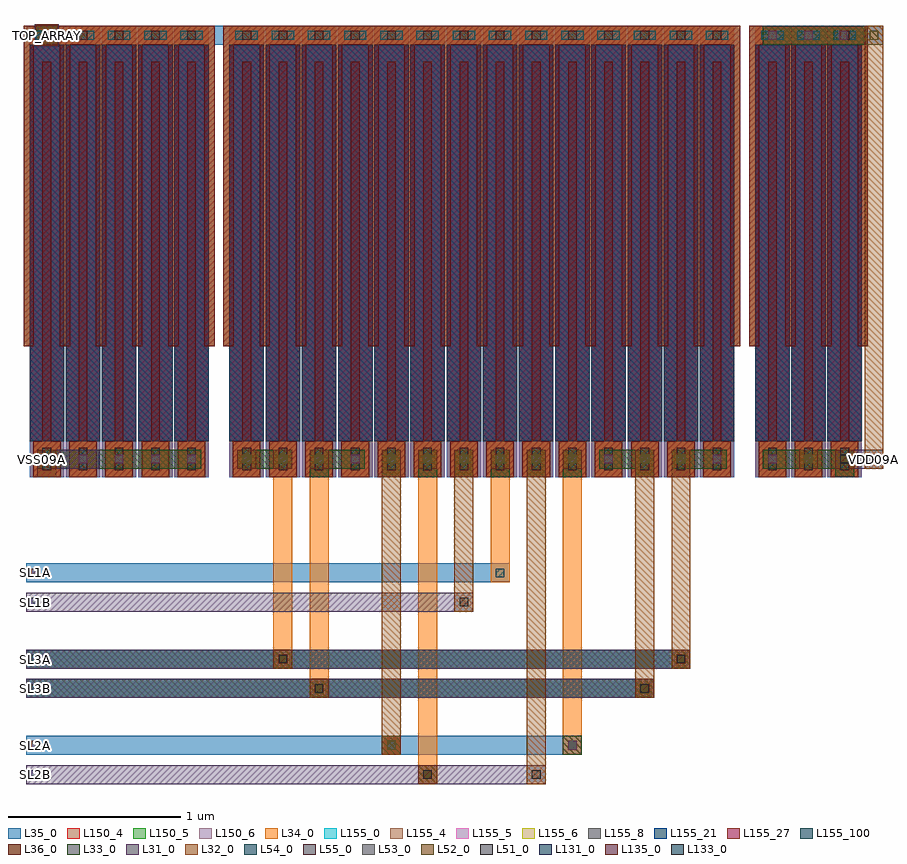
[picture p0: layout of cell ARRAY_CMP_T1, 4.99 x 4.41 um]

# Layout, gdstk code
from math import pi, radians
import gdstk
lib = gdstk.Library(unit=1e-6, precision=1e-09)
def R(c, l, rs):  # rectangles x0, y0, x1, y1
    for r in rs: c.add(gdstk.rectangle(r[:2], r[2:], *l))
def A(c, l, x, y, w, h, nx, ny, dx, dy):  # array of equal rectangles
    R(c, l, [(x+i*dx, y+j*dy, x+i*dx+w, y+j*dy+h) for i in range(nx) for j in range(ny)])
L31_0 = (31, 0)
L32_0 = (32, 0)
L33_0 = (33, 0)
L34_0 = (34, 0)
L35_0 = (35, 0)
L36_0 = (36, 0)
L51_0 = (51, 0)
L52_0 = (52, 0)
L53_0 = (53, 0)
L54_0 = (54, 0)
L55_0 = (55, 0)
L131_0 = (131, 0)
L133_0 = (133, 0)
L135_0 = (135, 0)
L150_4 = (150, 4)
L150_5 = (150, 5)
L150_6 = (150, 6)
L155_0 = (155, 0)
L155_4 = (155, 4)
L155_5 = (155, 5)
L155_6 = (155, 6)
L155_8 = (155, 8)
L155_21 = (155, 21)
L155_27 = (155, 27)
L155_100 = (155, 100)

m5_m4_cdns_620205407967 = lib.new_cell('M5_M4_CDNS_620205407967')
R(m5_m4_cdns_620205407967, L34_0, [(-0.07,-0.105,0.07,0.105)])
R(m5_m4_cdns_620205407967, L35_0, [(-0.07,-0.105,0.07,0.105)])
R(m5_m4_cdns_620205407967, L54_0, [(-0.025,-0.065,0.025,0.065)])

m6_m5_cdns_620205407968 = lib.new_cell('M6_M5_CDNS_620205407968')
R(m6_m5_cdns_620205407968, L35_0, [(-0.07,-0.105,0.07,0.105)])
R(m6_m5_cdns_620205407968, L36_0, [(-0.055,-0.105,0.055,0.105)])
R(m6_m5_cdns_620205407968, L55_0, [(-0.025,-0.065,0.025,0.065)])

m5_m4_cdns_620205407969 = lib.new_cell('M5_M4_CDNS_620205407969')
R(m5_m4_cdns_620205407969, L34_0, [(-0.095,-0.055,0.095,0.055)])
R(m5_m4_cdns_620205407969, L35_0, [(-0.12,-0.055,0.12,0.055)])
R(m5_m4_cdns_620205407969, L54_0, [(-0.065,-0.025,0.065,0.025)])

m6_m5_cdns_6202054079610 = lib.new_cell('M6_M5_CDNS_6202054079610')
R(m6_m5_cdns_6202054079610, L35_0, [(-0.055,-0.055,0.055,0.055)])
R(m6_m5_cdns_6202054079610, L36_0, [(-0.055,-0.055,0.055,0.055)])
R(m6_m5_cdns_6202054079610, L55_0, [(-0.025,-0.025,0.025,0.025)])

cu1f = lib.new_cell('CU1F')
R(cu1f, L34_0, [(0.02,0,0.18,0.21), (-0.035,2.51,0.235,2.62)])
R(cu1f, L35_0, [(0.02,0,0.18,0.21), (-0.035,2.51,0.235,2.62)])
R(cu1f, L36_0, [(0.02,0,0.18,0.21), (-0.035,2.51,0.235,2.62)])
R(cu1f, L150_4, [(0,0,0.2,2.62)])
R(cu1f, L150_5, [(0,0,0.2,2.62)])
R(cu1f, L150_6, [(0,0,0.2,2.62)])
R(cu1f, L155_0, [(0,0.21,0.2,2.51)])
R(cu1f, L155_4, [(0,0.21,0.2,2.51)])
R(cu1f, L155_5, [(0,0.21,0.2,2.51)])
R(cu1f, L155_6, [(0,0.21,0.2,2.51)])
R(cu1f, L155_8, [(0,0.21,0.2,2.51)])
R(cu1f, L155_21, [(0,0.21,0.2,2.51)])
R(cu1f, L155_27, [(0,0.21,0.2,2.51)])
R(cu1f, L155_100, [(0,0.21,0.2,2.51)])
cu1f.add(gdstk.FlexPath([(0.205,2.59),(0.205,0.76)], 0.06, ends=(0.03, 0), simple_path=True, layer=34, datatype=0))  # L34_0
cu1f.add(gdstk.FlexPath([(0.1,2.41),(0.1,0)], 0.05, ends="flush", simple_path=True, layer=34, datatype=0))  # L34_0
cu1f.add(gdstk.FlexPath([(-0.005,2.59),(-0.005,0.76)], 0.06, ends=(0.03, 0), simple_path=True, layer=34, datatype=0))  # L34_0
cu1f.add(gdstk.FlexPath([(0.205,0.76),(0.205,2.59)], 0.06, ends=(0, 0.03), simple_path=True, layer=35, datatype=0))  # L35_0
cu1f.add(gdstk.FlexPath([(0.1,2.41),(0.1,0)], 0.05, ends="flush", simple_path=True, layer=35, datatype=0))  # L35_0
cu1f.add(gdstk.FlexPath([(-0.005,0.76),(-0.005,2.59)], 0.06, ends=(0, 0.03), simple_path=True, layer=35, datatype=0))  # L35_0
cu1f.add(gdstk.FlexPath([(0.205,0.76),(0.205,2.59)], 0.06, ends=(0, 0.03), simple_path=True, layer=36, datatype=0))  # L36_0
cu1f.add(gdstk.FlexPath([(0.1,2.41),(0.1,0)], 0.05, ends="flush", simple_path=True, layer=36, datatype=0))  # L36_0
cu1f.add(gdstk.FlexPath([(-0.005,0.76),(-0.005,2.59)], 0.06, ends=(0, 0.03), simple_path=True, layer=36, datatype=0))  # L36_0
cu1f.add(gdstk.Reference(m5_m4_cdns_620205407967, (0.1,0.105), rotation=pi, x_reflection=True))
cu1f.add(gdstk.Reference(m6_m5_cdns_620205407968, (0.1,0.105), rotation=pi, x_reflection=True))
cu1f.add(gdstk.Reference(m5_m4_cdns_620205407969, (0.1,2.565)))
cu1f.add(gdstk.Reference(m6_m5_cdns_6202054079610, (0.1,2.565)))

m2_m1_cdns_620205407960 = lib.new_cell('M2_M1_CDNS_620205407960')
R(m2_m1_cdns_620205407960, L31_0, [(-0.055,-0.055,0.055,0.055)])
R(m2_m1_cdns_620205407960, L32_0, [(-0.055,-0.055,0.055,0.055)])
R(m2_m1_cdns_620205407960, L51_0, [(-0.025,-0.025,0.025,0.025)])

m3_m2_cdns_620205407961 = lib.new_cell('M3_M2_CDNS_620205407961')
R(m3_m2_cdns_620205407961, L32_0, [(-0.055,-0.055,0.055,0.055)])
R(m3_m2_cdns_620205407961, L33_0, [(-0.055,-0.055,0.055,0.055)])
R(m3_m2_cdns_620205407961, L52_0, [(-0.025,-0.025,0.025,0.025)])

m4_m3_cdns_620205407962 = lib.new_cell('M4_M3_CDNS_620205407962')
R(m4_m3_cdns_620205407962, L33_0, [(-0.055,-0.055,0.055,0.055)])
R(m4_m3_cdns_620205407962, L34_0, [(-0.055,-0.055,0.055,0.055)])
R(m4_m3_cdns_620205407962, L53_0, [(-0.025,-0.025,0.025,0.025)])

m4_m3_cdns_620205407963 = lib.new_cell('M4_M3_CDNS_620205407963')
R(m4_m3_cdns_620205407963, L33_0, [(-0.07,-0.065,0.07,0.065)])
R(m4_m3_cdns_620205407963, L34_0, [(-0.055,-0.055,0.055,0.055)])
R(m4_m3_cdns_620205407963, L53_0, [(-0.025,-0.025,0.025,0.025)])

m3_m2_cdns_620205407964 = lib.new_cell('M3_M2_CDNS_620205407964')
R(m3_m2_cdns_620205407964, L32_0, [(-0.065,-0.06,0.065,0.06)])
R(m3_m2_cdns_620205407964, L33_0, [(-0.07,-0.065,0.07,0.065)])
R(m3_m2_cdns_620205407964, L52_0, [(-0.025,-0.025,0.025,0.025)])

m2_m1_cdns_620205407965 = lib.new_cell('M2_M1_CDNS_620205407965')
R(m2_m1_cdns_620205407965, L31_0, [(-0.055,-0.055,0.055,0.055)])
R(m2_m1_cdns_620205407965, L32_0, [(-0.065,-0.06,0.065,0.06)])
R(m2_m1_cdns_620205407965, L51_0, [(-0.025,-0.025,0.025,0.025)])

m5_m4_cdns_620205407966 = lib.new_cell('M5_M4_CDNS_620205407966')
R(m5_m4_cdns_620205407966, L34_0, [(-0.055,-0.055,0.055,0.055)])
R(m5_m4_cdns_620205407966, L35_0, [(-0.055,-0.055,0.055,0.055)])
R(m5_m4_cdns_620205407966, L54_0, [(-0.025,-0.025,0.025,0.025)])

array_cmp_t1 = lib.new_cell('ARRAY_CMP_T1')
R(array_cmp_t1, L31_0, [(-0.23,-1.78,2.785,-1.67), (-0.23,-1.28,3.415,-1.17), (-0.23,-1.11,3.625,-1), (-0.23,-0.78,2.365,-0.67), (-0.165,0.05,0.195,0.16), (4.465,0.05,4.745,0.16), (-0.18,2.5,-0.04,2.63)])
R(array_cmp_t1, L32_0, [(2.675,-1.78,2.785,0.16), (1.835,-1.61,1.945,0.16), (3.305,-1.28,3.415,0.16), (3.515,-1.11,3.625,0.16), (2.255,-0.78,2.365,0.16), (-0.165,0,-0.055,0.16), (4.465,0.05,4.575,0.16), (4.635,0.05,4.745,2.62)])
A(array_cmp_t1, L33_0, 1.835, 0, 0.11, 0.16, 6, 1, 0.21, 0)
R(array_cmp_t1, L33_0, [(-0.23,-1.28,3.415,-1.17), (-0.23,-1.11,3.625,-1), (1.415,0,1.525,0.16), (3.305,0,3.415,0.16), (4.465,0,4.575,0.16), (-0.165,0.05,0.785,0.16), (0.995,0.05,1.315,0.16), (1.415,0.05,1.735,0.16), (3.095,0.05,3.415,0.16), (3.515,0.05,3.835,0.16), (4.045,0.05,4.575,0.16), (4.045,2.51,4.745,2.62)])
R(array_cmp_t1, L34_0, [(2.045,-1.78,2.155,0.16), (2.885,-1.61,2.995,0.16), (1.415,-1.28,1.525,0.16), (1.205,-1.11,1.315,0.16), (2.465,-0.61,2.575,0.16)])
R(array_cmp_t1, L35_0, [(-0.23,-1.61,2.995,-1.5), (-0.23,-1.28,3.415,-1.17), (-0.23,-1.11,3.625,-1), (-0.23,-0.61,2.575,-0.5), (-0.18,2.51,1.125,2.62)])
R(array_cmp_t1, L131_0, [(-0.2,-1.75,-0.15,-1.7), (-0.2,-0.75,-0.15,-0.7), (-0.165,0.08,-0.115,0.13), (4.665,0.08,4.715,0.13), (-0.135,2.54,-0.085,2.59)])
R(array_cmp_t1, L133_0, [(-0.2,-1.25,-0.15,-1.2), (-0.2,-1.08,-0.15,-1.03)])
R(array_cmp_t1, L135_0, [(-0.2,-1.58,-0.15,-1.53), (-0.2,-0.58,-0.15,-0.53)])
array_cmp_t1.add(gdstk.Reference(cu1f, (4,0)))
array_cmp_t1.add(gdstk.Reference(cu1f, (4.21,0)))
array_cmp_t1.add(gdstk.Reference(cu1f, (0.42,0)))
array_cmp_t1.add(gdstk.Reference(cu1f, (0.63,0)))
array_cmp_t1.add(gdstk.Reference(cu1f, (4.42,0)))
array_cmp_t1.add(gdstk.Reference(cu1f, (0.21,0)))
array_cmp_t1.add(gdstk.Reference(cu1f, (0,0)))
array_cmp_t1.add(gdstk.Reference(cu1f, (-0.21,0)))
array_cmp_t1.add(gdstk.Reference(cu1f, (3.68,0)))
array_cmp_t1.add(gdstk.Reference(cu1f, (3.47,0)))
array_cmp_t1.add(gdstk.Reference(cu1f, (3.26,0)))
array_cmp_t1.add(gdstk.Reference(cu1f, (3.05,0)))
array_cmp_t1.add(gdstk.Reference(cu1f, (2.84,0)))
array_cmp_t1.add(gdstk.Reference(cu1f, (2.63,0)))
array_cmp_t1.add(gdstk.Reference(cu1f, (2.42,0)))
array_cmp_t1.add(gdstk.Reference(cu1f, (2.21,0)))
array_cmp_t1.add(gdstk.Reference(cu1f, (2,0)))
array_cmp_t1.add(gdstk.Reference(cu1f, (1.79,0)))
array_cmp_t1.add(gdstk.Reference(cu1f, (1.58,0)))
array_cmp_t1.add(gdstk.Reference(cu1f, (1.37,0)))
array_cmp_t1.add(gdstk.Reference(cu1f, (1.16,0)))
array_cmp_t1.add(gdstk.Reference(cu1f, (0.95,0)))
array_cmp_t1.add(gdstk.Reference(m2_m1_cdns_620205407960, (3.36,-1.225)))
array_cmp_t1.add(gdstk.Reference(m2_m1_cdns_620205407960, (1.26,-1.055)))
array_cmp_t1.add(gdstk.Reference(m2_m1_cdns_620205407960, (4.69,0.105)))
array_cmp_t1.add(gdstk.Reference(m2_m1_cdns_620205407960, (-0.11,0.105)))
array_cmp_t1.add(gdstk.Reference(m2_m1_cdns_620205407960, (1.47,-1.225)))
array_cmp_t1.add(gdstk.Reference(m2_m1_cdns_620205407960, (4.52,0.105)))
array_cmp_t1.add(gdstk.Reference(m2_m1_cdns_620205407960, (2.31,-0.725)))
array_cmp_t1.add(gdstk.Reference(m2_m1_cdns_620205407960, (2.1,-1.725)))
array_cmp_t1.add(gdstk.Reference(m2_m1_cdns_620205407960, (2.73,-1.725)))
array_cmp_t1.add(gdstk.Reference(m2_m1_cdns_620205407960, (3.57,-1.055)))
array_cmp_t1.add(gdstk.Reference(m3_m2_cdns_620205407961, (1.89,-1.555)))
array_cmp_t1.add(gdstk.Reference(m3_m2_cdns_620205407961, (1.26,0.105)))
array_cmp_t1.add(gdstk.Reference(m3_m2_cdns_620205407961, (3.57,0.105)))
array_cmp_t1.add(gdstk.Reference(m3_m2_cdns_620205407961, (1.26,-1.055)))
array_cmp_t1.add(gdstk.Reference(m3_m2_cdns_620205407961, (3.36,-1.225)))
array_cmp_t1.add(gdstk.Reference(m3_m2_cdns_620205407961, (4.69,2.565)))
array_cmp_t1.add(gdstk.Reference(m3_m2_cdns_620205407961, (1.05,0.105)))
array_cmp_t1.add(gdstk.Reference(m3_m2_cdns_620205407961, (1.47,0.105)))
array_cmp_t1.add(gdstk.Reference(m3_m2_cdns_620205407961, (1.89,0.105)))
array_cmp_t1.add(gdstk.Reference(m3_m2_cdns_620205407961, (2.1,0.105)))
array_cmp_t1.add(gdstk.Reference(m3_m2_cdns_620205407961, (2.31,0.105)))
array_cmp_t1.add(gdstk.Reference(m3_m2_cdns_620205407961, (2.52,0.105)))
array_cmp_t1.add(gdstk.Reference(m3_m2_cdns_620205407961, (2.73,0.105)))
array_cmp_t1.add(gdstk.Reference(m3_m2_cdns_620205407961, (2.94,0.105)))
array_cmp_t1.add(gdstk.Reference(m3_m2_cdns_620205407961, (3.36,0.105)))
array_cmp_t1.add(gdstk.Reference(m3_m2_cdns_620205407961, (4.52,0.105)))
array_cmp_t1.add(gdstk.Reference(m3_m2_cdns_620205407961, (-0.11,0.105)))
array_cmp_t1.add(gdstk.Reference(m3_m2_cdns_620205407961, (4.31,0.105)))
array_cmp_t1.add(gdstk.Reference(m3_m2_cdns_620205407961, (1.47,-1.225)))
array_cmp_t1.add(gdstk.Reference(m3_m2_cdns_620205407961, (2.1,-1.725)))
array_cmp_t1.add(gdstk.Reference(m3_m2_cdns_620205407961, (3.57,-1.055)))
array_cmp_t1.add(gdstk.Reference(m4_m3_cdns_620205407962, (3.36,-1.225)))
array_cmp_t1.add(gdstk.Reference(m4_m3_cdns_620205407962, (1.68,0.105)))
array_cmp_t1.add(gdstk.Reference(m4_m3_cdns_620205407962, (1.26,-1.055)))
array_cmp_t1.add(gdstk.Reference(m4_m3_cdns_620205407962, (4.51,2.565), rotation=pi, x_reflection=True))
array_cmp_t1.add(gdstk.Reference(m4_m3_cdns_620205407962, (4.1,2.565), rotation=pi, x_reflection=True))
array_cmp_t1.add(gdstk.Reference(m4_m3_cdns_620205407962, (1.05,0.105)))
array_cmp_t1.add(gdstk.Reference(m4_m3_cdns_620205407962, (1.26,0.105)))
array_cmp_t1.add(gdstk.Reference(m4_m3_cdns_620205407962, (1.47,0.105)))
array_cmp_t1.add(gdstk.Reference(m4_m3_cdns_620205407962, (1.89,0.105)))
array_cmp_t1.add(gdstk.Reference(m4_m3_cdns_620205407962, (2.1,0.105)))
array_cmp_t1.add(gdstk.Reference(m4_m3_cdns_620205407962, (2.31,0.105)))
array_cmp_t1.add(gdstk.Reference(m4_m3_cdns_620205407962, (2.52,0.105)))
array_cmp_t1.add(gdstk.Reference(m4_m3_cdns_620205407962, (2.73,0.105)))
array_cmp_t1.add(gdstk.Reference(m4_m3_cdns_620205407962, (2.94,0.105)))
array_cmp_t1.add(gdstk.Reference(m4_m3_cdns_620205407962, (3.15,0.105)))
array_cmp_t1.add(gdstk.Reference(m4_m3_cdns_620205407962, (3.36,0.105)))
array_cmp_t1.add(gdstk.Reference(m4_m3_cdns_620205407962, (3.57,0.105)))
array_cmp_t1.add(gdstk.Reference(m4_m3_cdns_620205407962, (3.78,0.105)))
array_cmp_t1.add(gdstk.Reference(m4_m3_cdns_620205407962, (4.52,0.105)))
array_cmp_t1.add(gdstk.Reference(m4_m3_cdns_620205407962, (1.47,-1.225)))
array_cmp_t1.add(gdstk.Reference(m4_m3_cdns_620205407962, (0.1,0.105)))
array_cmp_t1.add(gdstk.Reference(m4_m3_cdns_620205407962, (0.31,0.105)))
array_cmp_t1.add(gdstk.Reference(m4_m3_cdns_620205407962, (-0.11,0.105)))
array_cmp_t1.add(gdstk.Reference(m4_m3_cdns_620205407962, (0.73,0.105)))
array_cmp_t1.add(gdstk.Reference(m4_m3_cdns_620205407962, (0.52,0.105)))
array_cmp_t1.add(gdstk.Reference(m4_m3_cdns_620205407962, (4.1,0.105)))
array_cmp_t1.add(gdstk.Reference(m4_m3_cdns_620205407962, (4.31,0.105)))
array_cmp_t1.add(gdstk.Reference(m4_m3_cdns_620205407962, (4.31,2.565), rotation=pi, x_reflection=True))
array_cmp_t1.add(gdstk.Reference(m4_m3_cdns_620205407962, (3.57,-1.055)))
array_cmp_t1.add(gdstk.Reference(m4_m3_cdns_620205407962, (1.89,-1.555)))
array_cmp_t1.add(gdstk.Reference(m4_m3_cdns_620205407962, (2.94,-1.555)))
array_cmp_t1.add(gdstk.Reference(m4_m3_cdns_620205407962, (2.1,-1.725)))
array_cmp_t1.add(gdstk.Reference(m4_m3_cdns_620205407963, (-0.11,2.565)))
array_cmp_t1.add(gdstk.Reference(m3_m2_cdns_620205407964, (-0.11,2.565)))
array_cmp_t1.add(gdstk.Reference(m2_m1_cdns_620205407965, (-0.11,2.565)))
array_cmp_t1.add(gdstk.Reference(m5_m4_cdns_620205407966, (1.89,-1.555)))
array_cmp_t1.add(gdstk.Reference(m5_m4_cdns_620205407966, (2.94,-1.555)))
array_cmp_t1.add(gdstk.Reference(m5_m4_cdns_620205407966, (2.52,-0.555)))
array_cmp_t1.add(gdstk.Reference(m5_m4_cdns_620205407966, (3.57,-1.055)))
array_cmp_t1.add(gdstk.Reference(m5_m4_cdns_620205407966, (1.47,-1.225)))
array_cmp_t1.add(gdstk.Reference(m5_m4_cdns_620205407966, (3.36,-1.225)))
array_cmp_t1.add(gdstk.Reference(m5_m4_cdns_620205407966, (1.26,-1.055)))
array_cmp_t1.add(gdstk.Label('SL2A', (-0.175,-1.555), layer=135, texttype=0))
array_cmp_t1.add(gdstk.Label('SL1A', (-0.175,-0.555), layer=135, texttype=0))
array_cmp_t1.add(gdstk.Label('SL3A', (-0.175,-1.055), layer=133, texttype=0))
array_cmp_t1.add(gdstk.Label('SL3B', (-0.175,-1.225), layer=133, texttype=0))
array_cmp_t1.add(gdstk.Label('VDD09A', (4.69,0.105), layer=131, texttype=0))
array_cmp_t1.add(gdstk.Label('SL1B', (-0.175,-0.725), layer=131, texttype=0))
array_cmp_t1.add(gdstk.Label('VSS09A', (-0.14,0.105), layer=131, texttype=0))
array_cmp_t1.add(gdstk.Label('SL2B', (-0.175,-1.725), layer=131, texttype=0))
array_cmp_t1.add(gdstk.Label('TOP_ARRAY', (-0.112,2.565), layer=131, texttype=0))

lib.write_gds('ARRAY_CMP_T1.gds')
